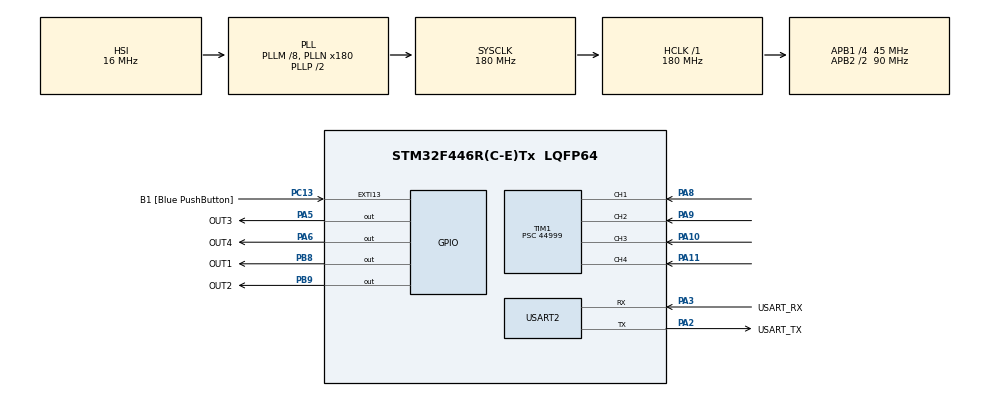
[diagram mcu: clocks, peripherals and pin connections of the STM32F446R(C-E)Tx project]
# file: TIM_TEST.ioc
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Mcu.Family=STM32F4
Mcu.Name=STM32F446R(C-E)Tx
Mcu.Package=LQFP64
NVIC.PriorityGroup=NVIC_PRIORITYGROUP_0
NVIC.TIM1_CC_IRQn=true\:0\:0\:false\:false\:true\:true\:true
PA10.GPIO_PuPd=GPIO_PULLUP
PA10.Signal=S_TIM1_CH3
PA11.GPIO_PuPd=GPIO_PULLUP
PA11.Signal=S_TIM1_CH4
PA13.GPIO_Label=TMS
PA13.Mode=Serial_Wire
PA13.Signal=SYS_JTMS-SWDIO
PA14.GPIO_Label=TCK
PA14.Mode=Serial_Wire
PA14.Signal=SYS_JTCK-SWCLK
PA2.GPIO_Label=USART_TX
PA2.Mode=Asynchronous
PA2.Signal=USART2_TX
PA3.GPIO_Label=USART_RX
PA3.Mode=Asynchronous
PA3.Signal=USART2_RX
PA5.GPIO_Label=OUT3
PA5.Signal=GPIO_Output
PA6.GPIO_Label=OUT4
PA6.Signal=GPIO_Output
PA8.GPIO_PuPd=GPIO_PULLUP
PA8.Signal=S_TIM1_CH1
PA9.GPIO_PuPd=GPIO_PULLUP
PA9.Signal=S_TIM1_CH2
PB3.GPIO_Label=SWO
PB3.Signal=SYS_JTDO-SWO
PB8.GPIO_Label=OUT1
PB8.Signal=GPIO_Output
PB9.GPIO_Label=OUT2
PB9.Signal=GPIO_Output
PC13.GPIO_Label=B1 [Blue PushButton]
PC13.GPIO_ModeDefaultEXTI=GPIO_MODE_IT_FALLING
PC13.Signal=GPXTI13
PC14-OSC32_IN.Mode=LSE-External-Oscillator
PC14-OSC32_IN.Signal=RCC_OSC32_IN
PC15-OSC32_OUT.Mode=LSE-External-Oscillator
PC15-OSC32_OUT.Signal=RCC_OSC32_OUT
PH0-OSC_IN.Mode=HSE-External-Oscillator
PH0-OSC_IN.Signal=RCC_OSC_IN
PH1-OSC_OUT.Mode=HSE-External-Oscillator
PH1-OSC_OUT.Signal=RCC_OSC_OUT
ProjectManager.HeapSize=0x200
ProjectManager.StackSize=0x400
ProjectManager.TargetToolchain=STM32CubeIDE
RCC.48MHZClocksFreq_Value=84000000
RCC.AHBFreq_Value=180000000
RCC.APB1CLKDivider=RCC_HCLK_DIV4
RCC.APB1Freq_Value=45000000
RCC.APB1TimFreq_Value=90000000
RCC.APB2CLKDivider=RCC_HCLK_DIV2
RCC.APB2Freq_Value=90000000
RCC.APB2TimFreq_Value=180000000
RCC.CortexFreq_Value=180000000
RCC.FLatency-AdvancedSettings=FLASH_LATENCY_5
RCC.HCLKFreq_Value=180000000
RCC.HSE_VALUE=8000000
RCC.HSI_VALUE=16000000
RCC.PLLM=8
RCC.PLLN=180
RCC.SYSCLKFreq_VALUE=180000000
RCC.SYSCLKSource=RCC_SYSCLKSOURCE_PLLCLK
RCC.USBFreq_Value=180000000
RCC.VCOOutputFreq_Value=360000000
SH.S_TIM1_CH1.0=TIM1_CH1,Input_Capture1_from_TI1
SH.S_TIM1_CH2.0=TIM1_CH2,Input_Capture2_from_TI2
SH.S_TIM1_CH3.0=TIM1_CH3,Input_Capture3_from_TI3
SH.S_TIM1_CH4.0=TIM1_CH4,Input_Capture4_from_TI4
TIM1.AutoReloadPreload=TIM_AUTORELOAD_PRELOAD_ENABLE
TIM1.Channel-Input_Capture1_from_TI1=TIM_CHANNEL_1
TIM1.Channel-Input_Capture2_from_TI2=TIM_CHANNEL_2
TIM1.Channel-Input_Capture3_from_TI3=TIM_CHANNEL_3
TIM1.Channel-Input_Capture4_from_TI4=TIM_CHANNEL_4
TIM1.ClockDivision=TIM_CLOCKDIVISION_DIV2
TIM1.Prescaler=44999
USART2.VirtualMode=VM_ASYNC
VP_TIM1_VS_ClockSourceINT.Mode=Internal
board=NUCLEO-F446RE

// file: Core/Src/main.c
/* USER CODE BEGIN Header */
/**
 ******************************************************************************
 * @file           : main.c
 * @brief          : Main program body
 ******************************************************************************
 * @attention
 *
 * <h2><center>&copy; Copyright (c) 2020 STMicroelectronics.
 * All rights reserved.</center></h2>
 *
 * This software component is licensed by ST under BSD 3-Clause license,
 * the "License"; You may not use this file except in compliance with the
 * License. You may obtain a copy of the License at:
 *                        opensource.org/licenses/BSD-3-Clause
 *
 ******************************************************************************
 */
/* USER CODE END Header */
#include "main.h"

TIM_HandleTypeDef htim1;

UART_HandleTypeDef huart2;

/* USER CODE BEGIN PV */
#define MAX_BUFLEN 1024 // used
char buf[MAX_BUFLEN]; // used
int bufHead = 0, bufTail = 0; // used
uint8_t tmpbuf; // UART interrupt buf used

uint16_t stb0 = 0, stbcnt0 = 0, stbtim0;
uint16_t stb1 = 0, stbcnt1 = 0, stbtim1;
uint16_t stb2 = 0, stbcnt2 = 0, stbtim2;
uint16_t stb3 = 0, stbcnt3 = 0, stbtim3;

/* USER CODE END PV */

void SystemClock_Config(void);
static void MX_GPIO_Init(void);
static void MX_USART2_UART_Init(void);
static void MX_TIM1_Init(void);

/* USER CODE BEGIN 0 */
int _write(int file, unsigned char *p, int len)
{
	HAL_UART_Transmit(&huart2, p, len, 10);
	return len;
}
int __io_getchar()
{
	register int ret;

	__retry: if (bufHead != bufTail)
	{
		ret = buf[bufHead];
		if (ret == '\r' || ret == '\n')
		{
			ret = '\n';
		}
		bufHead++;
		bufHead %= MAX_BUFLEN;
	}
	else
	{
		goto __retry;
		//return -1;
	}
	return ret;
}

void HAL_TIM_IC_CaptureCallback(TIM_HandleTypeDef *htim)
{
	if (htim->Instance == TIM1)
	{
		if (htim->Channel == HAL_TIM_ACTIVE_CHANNEL_1)
		{
			stb0 = 1;
			stbcnt0++;
		}
		if (htim->Channel == HAL_TIM_ACTIVE_CHANNEL_2)
		{
			stb1 = 1;
			stbcnt1++;
		}
		if (htim->Channel == HAL_TIM_ACTIVE_CHANNEL_3)
		{
			stb2 = 1;
			stbcnt2++;
		}
		if (htim->Channel == HAL_TIM_ACTIVE_CHANNEL_4)
		{
			stb3 = 1;
			stbcnt3++;
		}
	}
}

/* USER CODE END 0 */

int main(void)
{

	/* MCU Configuration--------------------------------------------------------*/

	/* Reset of all peripherals, Initializes the Flash interface and the Systick. */
	HAL_Init();

	/* Configure the system clock */
	SystemClock_Config();

	/* Initialize all configured peripherals */
	MX_GPIO_Init();
	MX_USART2_UART_Init();
	MX_TIM1_Init();
	/* USER CODE BEGIN 2 */
	HAL_TIM_IC_Start_IT(&htim1, TIM_CHANNEL_1);
	HAL_TIM_IC_Start_IT(&htim1, TIM_CHANNEL_2);
	HAL_TIM_IC_Start_IT(&htim1, TIM_CHANNEL_3);
	HAL_TIM_IC_Start_IT(&htim1, TIM_CHANNEL_4);

	/* USER CODE END 2 */

	/* Infinite loop */
	while (1)
	{

		/* USER CODE BEGIN 3 */
		HAL_GPIO_TogglePin(OUT1_GPIO_Port, OUT1_Pin);
		HAL_GPIO_TogglePin(OUT2_GPIO_Port, OUT2_Pin);
		HAL_GPIO_TogglePin(OUT3_GPIO_Port, OUT3_Pin); // LED LD2
		HAL_GPIO_TogglePin(OUT4_GPIO_Port, OUT4_Pin);
		printf("stb0:%d stb1:%d stb2:%d stb3:%d\r\n", stbcnt0, stbcnt1, stbcnt2,
				stbcnt3);
		HAL_Delay(500);
	}
	/* USER CODE END 3 */
}

void SystemClock_Config(void)
{
	RCC_OscInitTypeDef RCC_OscInitStruct =
	{ 0 };
	RCC_ClkInitTypeDef RCC_ClkInitStruct =
	{ 0 };

	/** Configure the main internal regulator output voltage
	 */
	__HAL_RCC_PWR_CLK_ENABLE();
	__HAL_PWR_VOLTAGESCALING_CONFIG(PWR_REGULATOR_VOLTAGE_SCALE1);
	/** Initializes the RCC Oscillators according to the specified parameters
	 * in the RCC_OscInitTypeDef structure.
	 */
	RCC_OscInitStruct.OscillatorType = RCC_OSCILLATORTYPE_HSI;
	RCC_OscInitStruct.HSIState = RCC_HSI_ON;
	RCC_OscInitStruct.HSICalibrationValue = RCC_HSICALIBRATION_DEFAULT;
	RCC_OscInitStruct.PLL.PLLState = RCC_PLL_ON;
	RCC_OscInitStruct.PLL.PLLSource = RCC_PLLSOURCE_HSI;
	RCC_OscInitStruct.PLL.PLLM = 8;
	RCC_OscInitStruct.PLL.PLLN = 180;
	RCC_OscInitStruct.PLL.PLLP = RCC_PLLP_DIV2;
	RCC_OscInitStruct.PLL.PLLQ = 2;
	RCC_OscInitStruct.PLL.PLLR = 2;
	if (HAL_RCC_OscConfig(&RCC_OscInitStruct) != HAL_OK)
	{
		Error_Handler();
	}
	/** Activate the Over-Drive mode
	 */
	if (HAL_PWREx_EnableOverDrive() != HAL_OK)
	{
		Error_Handler();
	}
	/** Initializes the CPU, AHB and APB buses clocks
	 */
	RCC_ClkInitStruct.ClockType = RCC_CLOCKTYPE_HCLK | RCC_CLOCKTYPE_SYSCLK
			| RCC_CLOCKTYPE_PCLK1 | RCC_CLOCKTYPE_PCLK2;
	RCC_ClkInitStruct.SYSCLKSource = RCC_SYSCLKSOURCE_PLLCLK;
	RCC_ClkInitStruct.AHBCLKDivider = RCC_SYSCLK_DIV1;
	RCC_ClkInitStruct.APB1CLKDivider = RCC_HCLK_DIV4;
	RCC_ClkInitStruct.APB2CLKDivider = RCC_HCLK_DIV2;

	if (HAL_RCC_ClockConfig(&RCC_ClkInitStruct, FLASH_LATENCY_5) != HAL_OK)
	{
		Error_Handler();
	}
}

static void MX_TIM1_Init(void)
{

	TIM_ClockConfigTypeDef sClockSourceConfig =
	{ 0 };
	TIM_MasterConfigTypeDef sMasterConfig =
	{ 0 };
	TIM_IC_InitTypeDef sConfigIC =
	{ 0 };

	htim1.Instance = TIM1;
	htim1.Init.Prescaler = 44999;
	htim1.Init.CounterMode = TIM_COUNTERMODE_UP;
	htim1.Init.Period = 65535;
	htim1.Init.ClockDivision = TIM_CLOCKDIVISION_DIV2;
	htim1.Init.RepetitionCounter = 0;
	htim1.Init.AutoReloadPreload = TIM_AUTORELOAD_PRELOAD_ENABLE;
	if (HAL_TIM_Base_Init(&htim1) != HAL_OK)
	{
		Error_Handler();
	}
	sClockSourceConfig.ClockSource = TIM_CLOCKSOURCE_INTERNAL;
	if (HAL_TIM_ConfigClockSource(&htim1, &sClockSourceConfig) != HAL_OK)
	{
		Error_Handler();
	}
	if (HAL_TIM_IC_Init(&htim1) != HAL_OK)
	{
		Error_Handler();
	}
	sMasterConfig.MasterOutputTrigger = TIM_TRGO_RESET;
	sMasterConfig.MasterSlaveMode = TIM_MASTERSLAVEMODE_DISABLE;
	if (HAL_TIMEx_MasterConfigSynchronization(&htim1, &sMasterConfig) != HAL_OK)
	{
		Error_Handler();
	}
	sConfigIC.ICPolarity = TIM_INPUTCHANNELPOLARITY_RISING;
	sConfigIC.ICSelection = TIM_ICSELECTION_DIRECTTI;
	sConfigIC.ICPrescaler = TIM_ICPSC_DIV1;
	sConfigIC.ICFilter = 0;
	if (HAL_TIM_IC_ConfigChannel(&htim1, &sConfigIC, TIM_CHANNEL_1) != HAL_OK)
	{
		Error_Handler();
	}
	if (HAL_TIM_IC_ConfigChannel(&htim1, &sConfigIC, TIM_CHANNEL_2) != HAL_OK)
	{
		Error_Handler();
	}
	if (HAL_TIM_IC_ConfigChannel(&htim1, &sConfigIC, TIM_CHANNEL_3) != HAL_OK)
	{
		Error_Handler();
	}
	if (HAL_TIM_IC_ConfigChannel(&htim1, &sConfigIC, TIM_CHANNEL_4) != HAL_OK)
	{
		Error_Handler();
	}

}

static void MX_USART2_UART_Init(void)
{

	huart2.Instance = USART2;
	huart2.Init.BaudRate = 115200;
	huart2.Init.WordLength = UART_WORDLENGTH_8B;
	huart2.Init.StopBits = UART_STOPBITS_1;
	huart2.Init.Parity = UART_PARITY_NONE;
	huart2.Init.Mode = UART_MODE_TX_RX;
	huart2.Init.HwFlowCtl = UART_HWCONTROL_NONE;
	huart2.Init.OverSampling = UART_OVERSAMPLING_16;
	if (HAL_UART_Init(&huart2) != HAL_OK)
	{
		Error_Handler();
	}

}

static void MX_GPIO_Init(void)
{
	GPIO_InitTypeDef GPIO_InitStruct =
	{ 0 };

	/* GPIO Ports Clock Enable */
	__HAL_RCC_GPIOC_CLK_ENABLE();
	__HAL_RCC_GPIOH_CLK_ENABLE();
	__HAL_RCC_GPIOA_CLK_ENABLE();
	__HAL_RCC_GPIOB_CLK_ENABLE();

	/*Configure GPIO pin Output Level */
	HAL_GPIO_WritePin(GPIOA, OUT3_Pin | OUT4_Pin, GPIO_PIN_RESET);

	/*Configure GPIO pin Output Level */
	HAL_GPIO_WritePin(GPIOB, OUT1_Pin | OUT2_Pin, GPIO_PIN_RESET);

	/*Configure GPIO pin : B1_Pin */
	GPIO_InitStruct.Pin = B1_Pin;
	GPIO_InitStruct.Mode = GPIO_MODE_IT_FALLING;
	GPIO_InitStruct.Pull = GPIO_NOPULL;
	HAL_GPIO_Init(B1_GPIO_Port, &GPIO_InitStruct);

	/*Configure GPIO pins : OUT3_Pin OUT4_Pin */
	GPIO_InitStruct.Pin = OUT3_Pin | OUT4_Pin;
	GPIO_InitStruct.Mode = GPIO_MODE_OUTPUT_PP;
	GPIO_InitStruct.Pull = GPIO_NOPULL;
	GPIO_InitStruct.Speed = GPIO_SPEED_FREQ_LOW;
	HAL_GPIO_Init(GPIOA, &GPIO_InitStruct);

	/*Configure GPIO pins : OUT1_Pin OUT2_Pin */
	GPIO_InitStruct.Pin = OUT1_Pin | OUT2_Pin;
	GPIO_InitStruct.Mode = GPIO_MODE_OUTPUT_PP;
	GPIO_InitStruct.Pull = GPIO_NOPULL;
	GPIO_InitStruct.Speed = GPIO_SPEED_FREQ_LOW;
	HAL_GPIO_Init(GPIOB, &GPIO_InitStruct);

}

void Error_Handler(void)
{
	__disable_irq();
	while (1)
	{
	}
}

/************************ (C) COPYRIGHT STMicroelectronics *****END OF FILE****/
